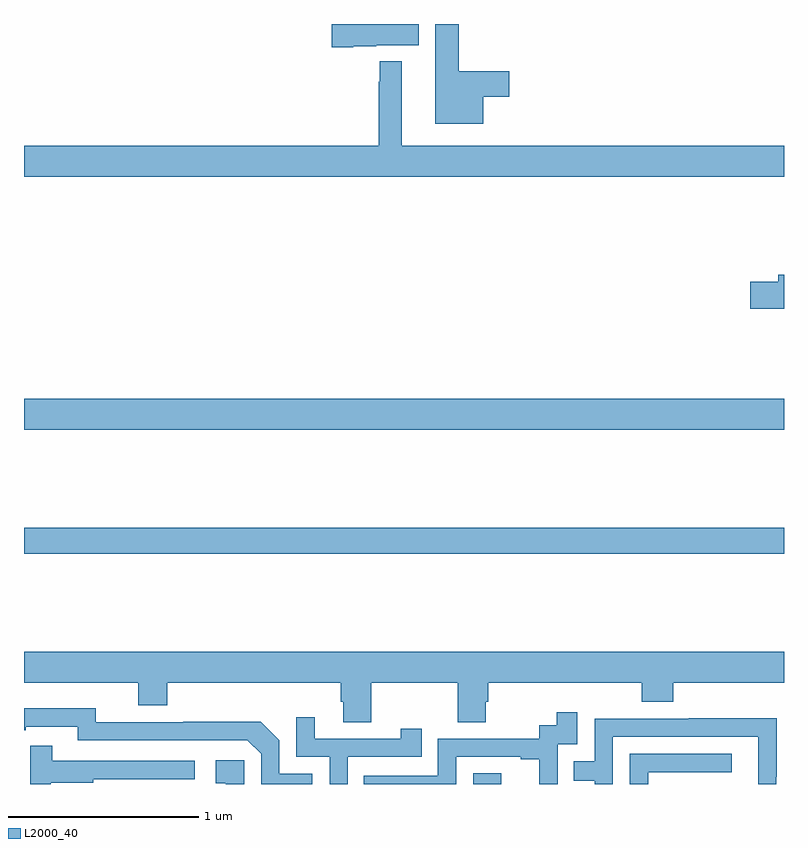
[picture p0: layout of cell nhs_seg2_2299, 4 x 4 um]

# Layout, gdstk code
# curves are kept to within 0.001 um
import gdstk
lib = gdstk.Library(unit=1e-6, precision=1e-09)
def R(c, l, rs):  # rectangles x0, y0, x1, y1
    for r in rs: c.add(gdstk.rectangle(r[:2], r[2:], *l))
def P(c, l, *ps):  # polygons
    for p in ps: c.add(gdstk.Polygon(p, *l))
L2000_40 = (2000, 40)

nhs_seg2_2299 = lib.new_cell('nhs_seg2_2299')
R(nhs_seg2_2299, L2000_40, [(233.364,617.8,233.512,617.857), (231,619.012,235,619.148), (231,619.664,235,619.828)])
P(nhs_seg2_2299, L2000_40, [(233.416,621.416),(233.554,621.416),(233.554,621.551),(233.287,621.551),(233.287,621.8),(233.165,621.8),(233.165,621.275),(233.416,621.275)],
  [(232.732,621.683),(232.854,621.683),(232.854,621.689),(233.077,621.689),(233.077,621.8),(232.62,621.8),(232.62,621.677),(232.732,621.677)],
  [(235,621.16),(232.987,621.16),(232.987,621.604),(232.873,621.604),(232.873,621.497),(232.866,621.497),(232.866,621.16),(231,621.16),(231,620.996),(235,620.996)],
  [(235,620.48),(234.971,620.48),(234.971,620.444),(234.822,620.444),(234.822,620.302),(235,620.302)],
  [(232.827,618.332),(233.284,618.332),(233.284,618.124),(233.431,618.124),(233.431,618.234),(233.444,618.234),(233.444,618.332),(234.251,618.332),(234.251,618.233),(234.416,618.233),(234.416,618.332),(235,618.332),(235,618.496),(231,618.496),(231,618.332),(231.602,618.332),(231.602,618.215),(231.755,618.215),(231.755,618.332),(232.667,618.332),(232.667,618.234),(232.679,618.234),(232.679,618.124),(232.827,618.124)],
  [(232.518,617.853),(232.344,617.853),(232.344,618.03),(232.246,618.128),(231.838,618.128),(231.838,618.126),(231.378,618.126),(231.378,618.199),(231,618.198),(231,618.082),(231.01,618.082),(231.01,618.102),(231.282,618.102),(231.282,618.03),(232.176,618.03),(232.248,617.958),(232.248,617.8),(232.518,617.8)],
  [(233.274,617.943),(233.615,617.943),(233.615,617.931),(233.711,617.931),(233.711,617.8),(233.808,617.8),(233.808,618.009),(233.913,618.009),(233.913,618.178),(233.805,618.178),(233.805,618.108),(233.712,618.108),(233.712,618.039),(233.178,618.039),(233.178,617.844),(232.789,617.844),(232.789,617.8),(233.274,617.8)],
  [(232.704,617.943),(233.093,617.943),(233.093,618.091),(232.982,618.091),(232.982,618.039),(232.531,618.039),(232.531,618.151),(232.434,618.151),(232.434,617.943),(232.608,617.943),(232.608,617.8),(232.704,617.8)],
  [(234.099,618.048),(234.864,618.048),(234.864,617.8),(234.96,617.8),(234.96,617.839),(234.963,617.839),(234.963,618.146),(234.499,618.146),(234.499,618.144),(234.003,618.144),(234.003,617.919),(233.893,617.919),(233.893,617.818),(234.003,617.818),(234.003,617.8),(234.099,617.8)],
  [(231.142,617.806),(231.365,617.806),(231.365,617.826),(231.898,617.826),(231.898,617.922),(231.149,617.922),(231.149,618.001),(231.032,618.001),(231.032,617.8),(231.142,617.8)],
  [(234.285,617.862),(234.724,617.862),(234.724,617.958),(234.189,617.958),(234.189,617.8),(234.285,617.8)],
  [(232.158,617.926),(232.008,617.926),(232.008,617.805),(232.061,617.805),(232.061,617.8),(232.158,617.8)])

lib.write_gds('nhs_seg2_2299.gds')
